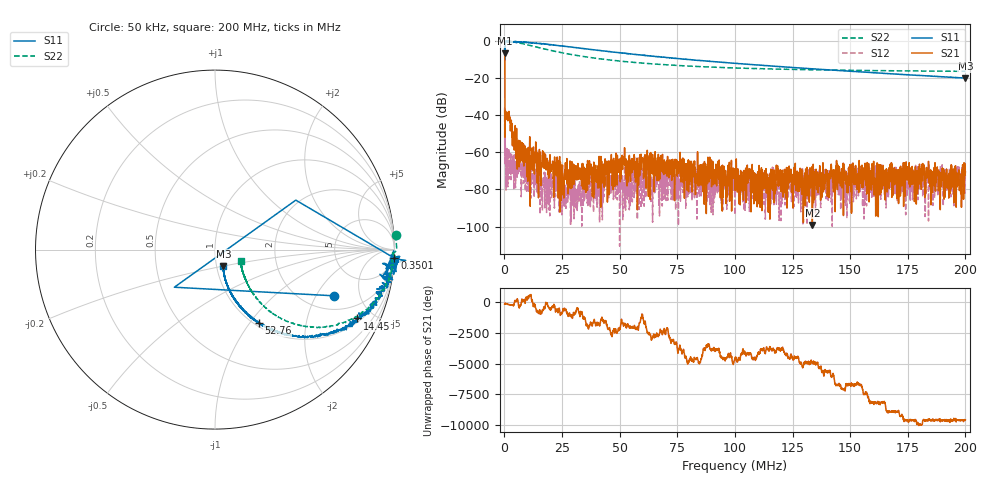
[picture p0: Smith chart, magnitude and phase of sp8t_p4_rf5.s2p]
! 26-Feb-26 11:54:15 AM
! E:\VNA_MEASUREMENTS\SP8T\SP8T_P4_RF5.S2P
! CHANNEL.1
! TR.MEASUREMENT
! CORRECTED.DATA
# GHZ S RI R 50.0
! FREQ.GHZ  S11RE  S11IM  S21RE  S21IM  S12RE  S12IM  S22RE  S22IM
!; PortSelection: Port_12
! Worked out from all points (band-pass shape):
!   2000 points, 50 kHz to 200 MHz, reference 50 ohm
!   highest |S21| = -6.44 dB at 150 kHz (marker M1); lowest = -99.2 dB at 133.6 MHz (marker M2)
!   |S21| within 3 dB of the highest: start of sweep to 156.6 kHz
!   lowest |S11| = -19.8 dB at 200 MHz (marker M3), VSWR 1.23, Z = 53.9 - j9.91 ohm
!   |S11| at or under -10 dB: 147.1 kHz to 154.6 kHz (7.578 kHz wide, 5.02 % of centre); 82.11529 MHz to 82.32646 MHz (211.2 kHz wide, 0.257 % of centre); 82.4 MHz to end of sweep
!   |S22| runs from -16.2 to 0.1 dB; largest |S21 - S12| = 0.48
!   S11 on the Smith chart (normalised r, x): 50 kHz: 2.75, -2.87; 350.1 kHz: -1, -42; 14.45 MHz: 1.18, -4.04; 52.76 MHz: 1.04, -1.10; 200 MHz: 1.08, -0.20
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5e-05  0.6636 -0.2575  -0.4169 -0.158  -0.0154 0.00453  1.007 0.0821
0.000150025  -0.2263 -0.2096  0.1007 -0.4654  -0.000111 -0.000465  1.013 0.00203
0.000350075  0.9996 -0.0475  -0.00761 -0.0113  -1.88e-05 0.00154  0.9934 -0.0228
0.001550375  0.9854 -0.0616  -0.00744 0.00126  -0.000635 -0.000499  0.9876 -0.0895
0.005751426  0.9322 -0.1839  -0.000438 9.95e-05  -0.000649 -0.000105  0.8673 -0.3094
0.0144536  0.7934 -0.3833  -0.000153 -0.000306  -0.000204 0.000429  0.5427 -0.4315
0.02625655  0.5634 -0.478  0.000143 0.000227  -4.05e-05 7.4e-06  0.3191 -0.3537
0.03345835  0.4374 -0.4811  -0.000103 -7e-05  1.58e-05 5.71e-05  0.2599 -0.3033
0.04766191  0.2794 -0.4295  0.000261 -0.000208  9.55e-05 0.000266  0.2023 -0.2299
0.05166291  0.2527 -0.4134  -0.000665 -0.000302  -2.04e-05 8.74e-05  0.1926 -0.214
0.05276318  0.2426 -0.4093  2.98e-05 0.000665  -1.66e-05 -0.000229  0.1911 -0.21
0.06676668  0.1694 -0.3514  1.65e-05 0.00089  -0.000139 4.22e-05  0.1721 -0.1694
0.07606901  0.1365 -0.3134  -0.000234 0.000473  -0.000192 -1.13e-05  0.1642 -0.1501
0.07846961  0.1305 -0.3049  -4e-07 -0.000213  -0.000137 0.000248  0.1626 -0.146
0.09647411  0.0943 -0.2505  -6.32e-05 -6.87e-05  -3.6e-06 2.91e-05  0.1536 -0.1201
0.100075  0.0877 -0.2413  7.5e-05 5.8e-05  -0.00015 6.84e-05  0.1526 -0.1167
0.1089772  0.0784 -0.2196  3.59e-05 0.000137  0.000109 -6.2e-05  0.1503 -0.1086
0.1333833  0.0592 -0.173  -3.55e-05 0.000144  -0.000153 0.000156  0.1464 -0.0903
0.1335834  0.0602 -0.1729  -1.03e-05 -3.9e-06  -0.000183 0.000128  0.1469 -0.0899
0.1666917  0.0482 -0.1258  -0.000195 0.000302  -0.000148 4e-06  0.144 -0.0741
0.1969992  0.0463 -0.094  -9.35e-05 0.00023  -0.000141 0.00023  0.1427 -0.0637
0.2  0.0464 -0.0909  -0.000257 0.000158  -0.000188 0.000137  0.1423 -0.0631
